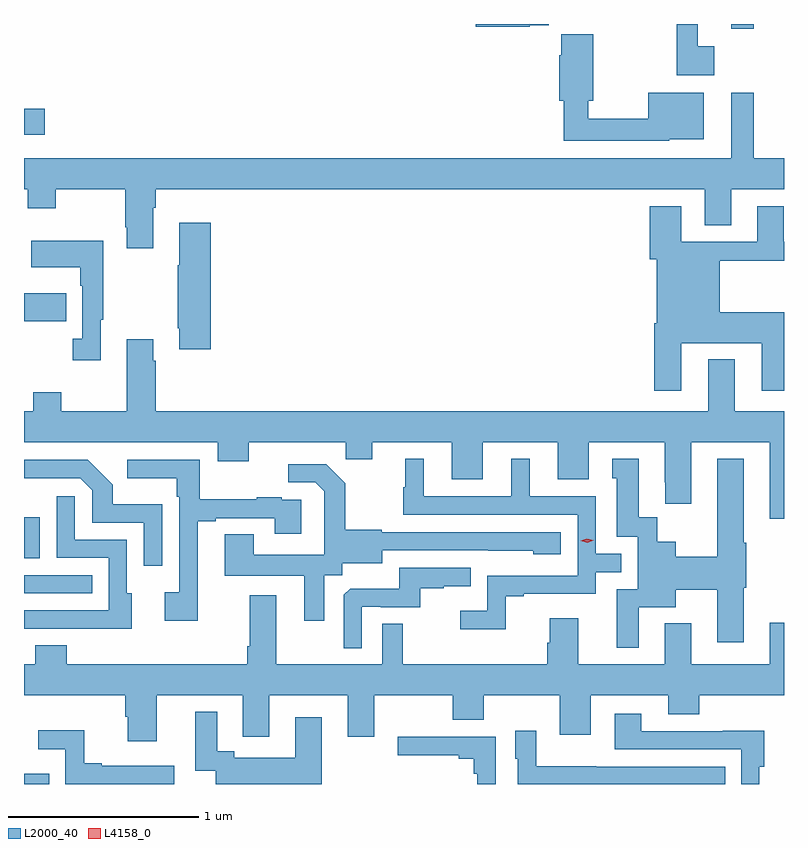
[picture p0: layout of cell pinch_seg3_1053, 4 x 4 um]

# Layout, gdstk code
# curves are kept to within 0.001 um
import gdstk
lib = gdstk.Library(unit=1e-6, precision=1e-09)
def R(c, l, rs):  # rectangles x0, y0, x1, y1
    for r in rs: c.add(gdstk.rectangle(r[:2], r[2:], *l))
def P(c, l, *ps):  # polygons
    for p in ps: c.add(gdstk.Polygon(p, *l))
L2000_40 = (2000, 40)
L4158_0 = (4158, 0)

pinch_seg3_1053 = lib.new_cell('pinch_seg3_1053')
R(pinch_seg3_1053, L2000_40, [(251.537,707.11,251.669,707.164), (251.537,708.114,251.897,708.21), (251.537,708.299,251.62,708.514), (251.537,709.546,251.759,709.693), (251.537,710.528,251.647,710.663), (255.26,711.084,255.377,711.11)])
P(pinch_seg3_1053, L2000_40, [(255.169,710.993),(255.083,710.993),(255.083,711.11),(254.973,711.11),(254.973,710.84),(255.169,710.84)],
  [(254.198,711.104),(254.298,711.104),(254.298,711.11),(253.914,711.11),(253.914,711.095),(254.198,711.095)],
  [(254.934,710.504),(255.115,710.504),(255.115,710.749),(254.822,710.749),(254.822,710.612),(254.506,710.612),(254.506,710.705),(254.532,710.705),(254.532,711.057),(254.364,711.057),(254.364,710.945),(254.354,710.945),(254.354,710.705),(254.377,710.705),(254.377,710.496),(254.934,710.496)],
  [(251.537,710.24),(251.556,710.24),(251.556,710.141),(251.703,710.141),(251.703,710.24),(252.07,710.24),(252.07,710.041),(252.077,710.041),(252.077,709.929),(252.217,709.929),(252.217,710.144),(252.23,710.144),(252.23,710.24),(255.119,710.24),(255.119,710.05),(255.259,710.05),(255.259,710.24),(255.537,710.24),(255.537,710.404),(255.377,710.404),(255.377,710.749),(255.26,710.749),(255.26,710.404),(251.537,710.404)],
  [(254.995,709.43),(255.419,709.43),(255.419,709.179),(255.537,709.179),(255.537,709.594),(255.199,709.594),(255.199,709.864),(255.537,709.864),(255.537,709.965),(255.535,709.965),(255.535,710.152),(255.395,710.152),(255.395,709.965),(254.995,709.965),(254.995,710.152),(254.831,710.152),(254.831,709.872),(254.867,709.872),(254.867,709.534),(254.855,709.534),(254.855,709.179),(254.995,709.179)],
  [(252.521,710.065),(252.353,710.065),(252.353,709.841),(252.346,709.841),(252.346,709.51),(252.353,709.51),(252.353,709.398),(252.521,709.398)],
  [(251.941,709.553),(251.953,709.553),(251.953,709.969),(251.575,709.969),(251.575,709.829),(251.832,709.829),(251.832,709.733),(251.844,709.733),(251.844,709.454),(251.793,709.454),(251.793,709.341),(251.941,709.341)],
  [(255.537,709.072),(255.277,709.072),(255.277,709.345),(255.137,709.345),(255.137,709.072),(252.23,709.072),(252.23,709.337),(252.217,709.337),(252.217,709.45),(252.077,709.45),(252.077,709.072),(251.733,709.072),(251.733,709.171),(251.585,709.171),(251.585,709.072),(251.537,709.072),(251.537,708.908),(252.557,708.908),(252.557,708.809),(252.721,708.809),(252.721,708.908),(253.231,708.908),(253.231,708.818),(253.369,708.818),(253.369,708.908),(253.787,708.908),(253.787,708.714),(253.951,708.714),(253.951,708.908),(254.345,708.908),(254.345,708.714),(254.509,708.714),(254.509,708.908),(254.909,708.908),(254.909,708.697),(254.912,708.697),(254.912,708.585),(255.049,708.585),(255.049,708.908),(255.461,708.908),(255.461,708.507),(255.537,708.507)],
  [(254.073,708.099),(254.167,708.099),(254.167,708.111),(254.547,708.111),(254.547,708.225),(254.68,708.225),(254.68,708.321),(254.547,708.321),(254.547,708.624),(254.2,708.624),(254.2,708.823),(254.102,708.823),(254.102,708.624),(253.642,708.624),(253.642,708.823),(253.544,708.823),(253.544,708.672),(253.533,708.672),(253.533,708.528),(254.451,708.528),(254.451,708.207),(253.974,708.207),(253.974,708.022),(253.833,708.022),(253.833,707.924),(254.073,707.924)],
  [(254.773,708.041),(254.968,708.041),(254.968,708.133),(255.185,708.133),(255.185,707.856),(255.325,707.856),(255.325,708.144),(255.338,708.144),(255.338,708.381),(255.325,708.381),(255.325,708.823),(255.185,708.823),(255.185,708.305),(254.968,708.305),(254.968,708.385),(254.871,708.385),(254.871,708.515),(254.773,708.515),(254.773,708.823),(254.633,708.823),(254.633,708.72),(254.657,708.72),(254.657,708.411),(254.766,708.411),(254.766,708.135),(254.657,708.135),(254.657,707.826),(254.773,707.826)],
  [(252.451,708.492),(252.547,708.492),(252.547,708.51),(252.857,708.51),(252.857,708.426),(252.997,708.426),(252.997,708.606),(252.893,708.606),(252.893,708.619),(252.761,708.619),(252.761,708.608),(252.463,708.608),(252.463,708.816),(252.081,708.816),(252.081,708.719),(252.342,708.719),(252.342,708.623),(252.354,708.623),(252.354,708.118),(252.279,708.118),(252.279,707.97),(252.451,707.97)],
  [(252.264,708.583),(252.003,708.583),(252.003,708.686),(251.872,708.816),(251.537,708.816),(251.537,708.719),(251.832,708.72),(251.895,708.657),(251.895,708.486),(252.168,708.486),(252.168,708.258),(252.264,708.258)],
  [(253.117,708.208),(253.212,708.208),(253.212,708.272),(253.423,708.272),(253.423,708.339),(254.217,708.338),(254.217,708.32),(254.362,708.32),(254.362,708.435),(253.419,708.435),(253.419,708.448),(253.227,708.448),(253.227,708.693),(253.127,708.793),(252.927,708.793),(252.927,708.699),(253.071,708.699),(253.118,708.652),(253.118,708.557),(253.116,708.557),(253.116,708.316),(252.745,708.316),(252.745,708.425),(252.593,708.425),(252.593,708.206),(253.013,708.206),(253.013,707.97),(253.117,707.97)],
  [(252.103,708.114),(252.078,708.114),(252.078,708.396),(251.805,708.396),(251.805,708.625),(251.709,708.625),(251.709,708.3),(251.982,708.3),(251.982,708.024),(251.537,708.024),(251.537,707.928),(251.885,707.928),(251.885,707.927),(252.103,707.927)],
  [(253.314,708.042),(253.414,708.042),(253.414,708.039),(253.622,708.039),(253.622,708.141),(253.745,708.141),(253.745,708.152),(253.889,708.152),(253.889,708.249),(253.512,708.249),(253.512,708.137),(253.253,708.137),(253.221,708.105),(253.221,707.825),(253.314,707.825)],
  [(252.235,707.576),(252.689,707.576),(252.689,707.358),(252.829,707.358),(252.829,707.576),(253.241,707.576),(253.241,707.358),(253.381,707.358),(253.381,707.576),(253.793,707.576),(253.793,707.448),(253.957,707.448),(253.957,707.576),(254.357,707.576),(254.357,707.37),(254.521,707.37),(254.521,707.576),(254.927,707.576),(254.927,707.477),(255.091,707.477),(255.091,707.576),(255.537,707.576),(255.537,707.959),(255.461,707.959),(255.461,707.74),(255.049,707.74),(255.049,707.956),(254.909,707.956),(254.909,707.74),(254.455,707.74),(254.455,707.983),(254.303,707.983),(254.303,707.853),(254.291,707.853),(254.291,707.74),(253.531,707.74),(253.531,707.954),(253.422,707.954),(253.422,707.74),(252.865,707.74),(252.865,708.103),(252.725,708.103),(252.725,707.836),(252.713,707.836),(252.713,707.74),(251.761,707.74),(251.761,707.839),(251.597,707.839),(251.597,707.74),(251.537,707.74),(251.537,707.576),(252.071,707.576),(252.071,707.463),(252.083,707.463),(252.083,707.334),(252.235,707.334)],
  [(253.105,707.461),(252.965,707.461),(252.965,707.248),(252.643,707.248),(252.643,707.282),(252.553,707.282),(252.553,707.491),(252.437,707.491),(252.437,707.181),(252.546,707.181),(252.546,707.11),(253.105,707.11)],
  [(255.408,707.202),(255.433,707.202),(255.433,707.39),(255.215,707.39),(255.215,707.388),(254.785,707.388),(254.785,707.479),(254.645,707.479),(254.645,707.292),(255.312,707.292),(255.312,707.11),(255.408,707.11)],
  [(252.327,707.205),(251.947,707.205),(251.947,707.218),(251.853,707.218),(251.853,707.393),(251.613,707.393),(251.613,707.294),(251.754,707.294),(251.754,707.11),(252.327,707.11)],
  [(255.227,707.202),(254.549,707.202),(254.549,707.203),(254.232,707.203),(254.232,707.389),(254.123,707.389),(254.123,707.244),(254.136,707.244),(254.136,707.11),(255.227,707.11)],
  [(254.019,707.358),(253.503,707.358),(253.503,707.261),(253.826,707.261),(253.826,707.242),(253.903,707.242),(253.903,707.165),(253.922,707.165),(253.922,707.11),(254.019,707.11)])
P(pinch_seg3_1053, L4158_0, [(254.502,708.381),(254.467,708.389),(254.466,708.389),(254.467,708.389),(254.5,708.401),(254.535,708.393),(254.536,708.393),(254.535,708.392)])

lib.write_gds('pinch_seg3_1053.gds')
